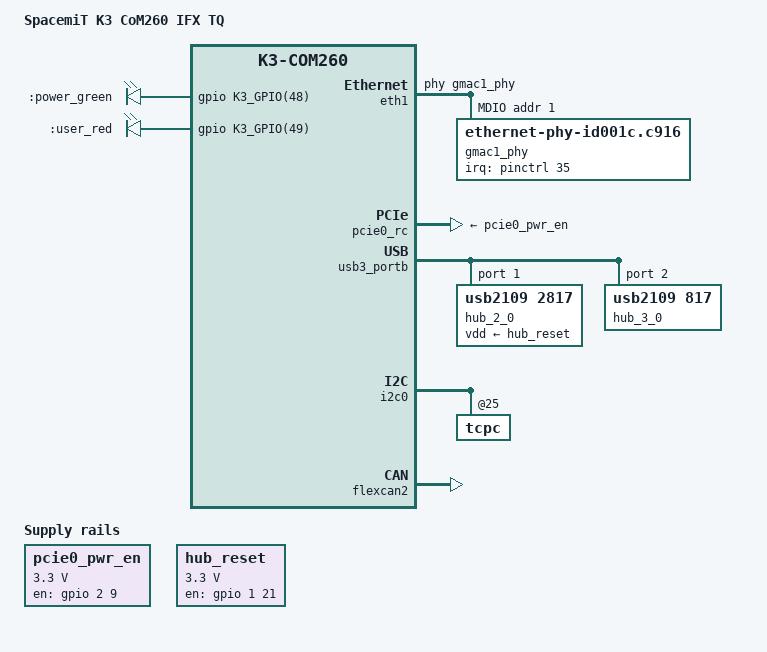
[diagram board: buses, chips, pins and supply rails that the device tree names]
// SPDX-License-Identifier: (GPL-2.0 OR MIT)
/* Copyright (c) 2025 Spacemit, Inc */

#include "k3_com260.dtsi"
#include "k3-camera.dtsi"

/ {
	model = "SpacemiT K3 CoM260 IFX TQ";
	compatible = "spacemit,k3-com260-ifx-tq", "spacemit,k3-com260", "spacemit,k3";

	pcie0_pwr_en: regulator-pcie0-pwr-en {
		compatible = "regulator-fixed";
		regulator-name = "pcie0 pwr en";
		pinctrl-names = "default";
		pinctrl-0 = <&pcie0_pwr_en_cfg>;
		regulator-min-microvolt = <3300000>;
		regulator-max-microvolt = <3300000>;
		gpio = <&gpio 2 9 GPIO_ACTIVE_HIGH>;
		enable-active-high;
		regulator-boot-on;
		status = "okay";
	};

	hub_reset: hub-reset {
		compatible = "regulator-fixed";
		regulator-name = "hub-reset";
		regulator-min-microvolt = <3300000>;
		regulator-max-microvolt = <3300000>;
		enable-active-high;
		regulator-boot-on;
		gpio = <&gpio 1 21 0>;
	};

	firefly_leds: leds {
		compatible = "gpio-leds";
		pinctrl-names = "default";
		pinctrl-0 = <&led_power &led_user>;
		status = "okay";

		power_led: power {
			label = ":power_green";
			linux,default-trigger = "ir-power-click";
			gpios = <&gpio K3_GPIO(48) GPIO_ACTIVE_HIGH>;
			default-state = "on";
		};

		user_led: user {
			label = ":user_red";
			linux,default-trigger = "ir-user-click";
			gpios = <&gpio K3_GPIO(49) GPIO_ACTIVE_HIGH>;
			default-state = "off";
		};
	};

};

&pinctrl {
	pcie0_pwr_en_cfg: pcie0-pwr-en-cfg {
		pcie0-pwr-en-pins {
			pinmux = <K3_PADCONF(73, 0)>;

			bias-pull-up;
			drive-strength = <33>;
			power-source = <1800>;
		};
	};

	can2-1-cfg {
		can2-0-pins {
			power-source = <3300>;
		};
	};

	led_power: led-power-cfg {
		led-power-pins {
			pinmux = <K3_PADCONF(48, 0)>;

			bias-disable;
			drive-strength = <25>;
			power-source = <1800>;
		};
	};

	led_user: led-user-cfg {
		led-user-pins {
			pinmux = <K3_PADCONF(49, 0)>;

			bias-disable;
			drive-strength = <25>;
			power-source = <1800>;
		};
	};
};

&eth1 {
	phy-handle = <&gmac1_phy>;

	mdio {
		#address-cells = <1>;
		#size-cells = <0>;
		compatible = "snps,dwmac-mdio";

		gmac1_phy: ethernet-phy@1 {
			compatible = "ethernet-phy-id001c.c916",
				     "ethernet-phy-ieee802.3-c22";
			reg = <1>;
			realtek,aldps-enable;
			realtek,clkout-disable;
			realtek,link-poll;

			wakeup-source;
			interrupt-parent = <&pinctrl>;
			interrupts = <35 IRQ_TYPE_EDGE_FALLING>;

			leds {
				#address-cells = <1>;
				#size-cells = <0>;

				led@1 {
					reg = <1>;
					function = LED_FUNCTION_LAN;
					color = <LED_COLOR_ID_GREEN>;
					default-state = "keep";
				};

				led@2 {
					reg = <2>;
					function = LED_FUNCTION_LAN;
					color = <LED_COLOR_ID_YELLOW>;
					default-state = "keep";
				};
			};
		};
	};
};

&pcie0_rc {
	vpcie3v3-supply = <&pcie0_pwr_en>;
};

&usb3_porta {
	reset-on-resume;
};

&usb3_portb {
	reset-on-resume;
	/* wakeup-source; */

	/* VL817 USB2.0 hub (4 ports) */
	hub_2_0: hub@1 {
		compatible = "usb2109,2817";
		reg = <1>;
		peer-hub = <&hub_3_0>;
		vdd-supply = <&hub_reset>;
	};

	/* VL817 USB3.0 hub (4 ports) */
	hub_3_0: hub@2 {
		compatible = "usb2109,817";
		reg = <2>;
		peer-hub = <&hub_2_0>;
	};
};

&i2c0 {
	tcpc@25 {
		suspend-vbus-off;
	};
};

&i2c3 {
	status = "disabled";
};

&i2c5 {
	status = "disabled";
};

&flexcan2 {
	clock-frequency = <80000000>;
	pinctrl-names = "default";
	pinctrl-0 = <&can2_1_cfg>;
	status = "okay";
};

&rpmi_regulator {
	edcdc2: edcdc2 {
		regulator-max-microvolt = <1100000>;
	};

	edcdc1: edcdc1 {
		regulator-max-microvolt = <1100000>;
	};
};
